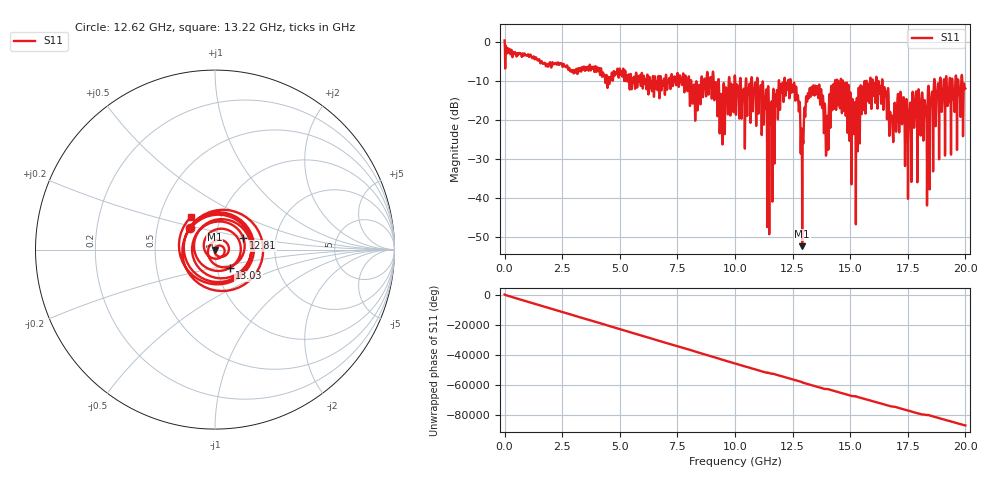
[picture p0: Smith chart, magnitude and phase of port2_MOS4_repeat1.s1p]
! MS46122B
! 2250307/22442219
! 7/26/2025 10:30:56 AM
! C:\USERS\SPARKY\DOCUMENTS\VNA_DATA\JULY26_2025\295K\PORT2_MOS4_REPEAT1.S1P
! CHANNEL.1
! TR.MEASUREMENT
! RAW.DATA
# GHZ S RI R 50.0
! FREQ.GHZ  S11RE  S11IM
!; PortSelection: Port_1
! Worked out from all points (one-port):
!   10001 points, 1 MHz to 20 GHz, reference 50 ohm
!   lowest |S11| = -52.4 dB at 12.92 GHz (marker M1), VSWR 1.00, Z = 49.8 - j0.0648 ohm
!   |S11| at or under -10 dB: 12.42 GHz to 14.34 GHz (1.922 GHz wide, 14.4 % of centre); 14.69 GHz to 15.71 GHz (1.019 GHz wide, 6.71 % of centre); 16.4 GHz to 18.64 GHz (2.238 GHz wide, 12.8 % of centre) (the widest 3 of 70)
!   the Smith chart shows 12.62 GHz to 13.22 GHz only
!   S11 on the Smith chart (normalised r, x): 12.62 GHz: 0.73, +0.18; 12.81 GHz: 1.36, +0.18; 13.03 GHz: 1.15, -0.24; 13.22 GHz: 0.72, +0.27
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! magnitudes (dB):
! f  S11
! 1 MHz  0.4
! 2.501 GHz  -6.1
! 5.001 GHz  -6.9
! 7.501 GHz  -8.0
! 8.211 GHz  -11.5
! 8.979 GHz  -12.5
! 9.403 GHz  -13.4
! 10 GHz  -8.8
! 11.04 GHz  -13.5
! 11.56 GHz  -21.0
! 11.98 GHz  -11.5
! 12.5 GHz  -11.5
! 12.62 GHz  -14.6
! 12.81 GHz  -15.4
! 12.92 GHz  -52.4
! 13.03 GHz  -17.7
! 13.22 GHz  -13.0
! 13.73 GHz  -12.3
! 13.96 GHz  -28.5
! 14.35 GHz  -9.8
! 15 GHz  -14.1
! 15.24 GHz  -23.2
! 16.05 GHz  -10.7
! 16.57 GHz  -13.9
! 16.79 GHz  -19.1
! 17.13 GHz  -23.0
! 17.5 GHz  -29.9
! 20 GHz  -11.9
